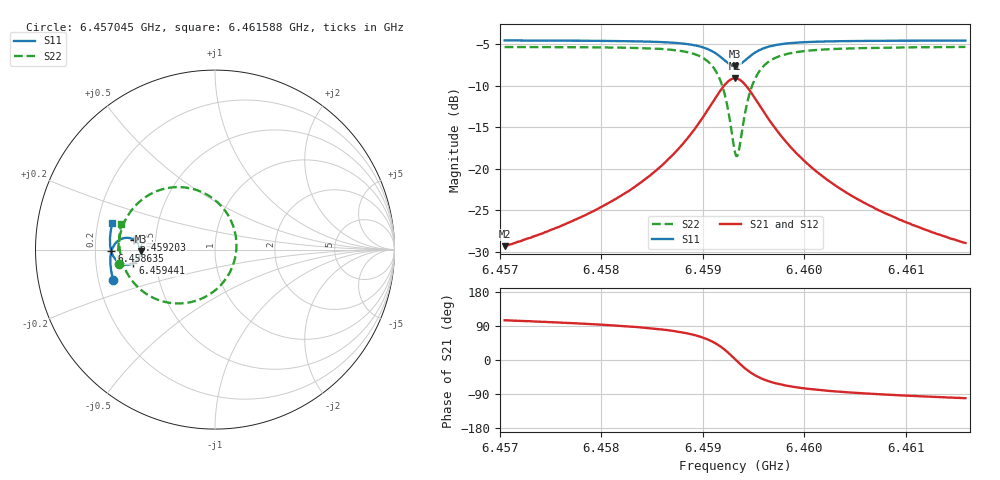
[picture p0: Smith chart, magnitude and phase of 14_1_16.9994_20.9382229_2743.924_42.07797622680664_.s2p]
#  HZ  S  RI  R  50.00
! Rohde & Schwarz Vector Network Analyzer
! Rohde-Schwarz,ZNB20-2Port,1311601062101988,3.16
! Created: UTC 3/20/2024, 10:52:42 PM
! freq[Hz]  re:S11  im:S11  re:S21  im:S21  re:S12  im:S12  re:S22  im:S22
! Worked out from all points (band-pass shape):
!   401 points, 6.457045 GHz to 6.461588 GHz, reference 50 ohm
!   highest |S21| = -9.12 dB at 6.459316 GHz (marker M1); lowest = -29.3 dB at 6.457045 GHz (marker M2)
!   |S21| within 3 dB of the highest: 6.45909 GHz to 6.459544 GHz (454.2 kHz wide, 0.00703 % of centre)
!   lowest |S11| = -7.6 dB at 6.459316 GHz (marker M3), VSWR 2.42, Z = 20.7 - j0.446 ohm
!   |S11| at or under -10 dB: nowhere
!   |S22| runs from -18.5 to -5.3 dB; largest |S21 - S12| = 0.014
!   S11 on the Smith chart (normalised r, x): 6.457045 GHz: 0.26, -0.14; 6.458635 GHz: 0.27, -0.01; 6.459203 GHz: 0.38, +0.05; 6.459441 GHz: 0.37, -0.07; 6.461588 GHz: 0.26, +0.12
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6.4570447e9  -0.5674 -0.1686  -0.00868 0.033  -0.00691 0.0329  -0.5343 -0.0783
6.4578057e9  -0.5808 -0.1018  -0.00525 0.0511  -0.00279 0.0505  -0.5387 0.0117
6.45826e9  -0.5835 -0.0557  0.0017 0.0729  0.00499 0.0714  -0.5283 0.0853
6.4585667e9  -0.5794 -0.0183  0.015 0.0998  0.019 0.097  -0.5034 0.1566
6.4586349e9  -0.577 -0.00886  0.0204 0.1082  0.0245 0.105  -0.4931 0.1767
6.458828e9  -0.5644 0.0217  0.0473 0.1394  0.0513 0.1344  -0.4423 0.2459
6.4589756e9  -0.5414 0.048  0.0931 0.1699  0.0962 0.1632  -0.358 0.3101
6.4591119e9  -0.497 0.0654  0.1813 0.1865  0.1819 0.1792  -0.1973 0.3483
6.4592028e9  -0.4519 0.0551  0.272 0.1549  0.272 0.1493  -0.0296 0.2969
6.4592709e9  -0.4223 0.0227  0.3333 0.0823  0.3354 0.0773  0.087 0.1659
6.4593164e9  -0.415 -0.00892  0.3498 0.0135  0.3537 0.00692  0.1194 0.0375
6.4593504e9  -0.4189 -0.033  0.3441 -0.0396  0.3482 -0.0486  0.1078 -0.0634
6.4593959e9  -0.4347 -0.0597  0.315 -0.1004  0.3177 -0.1121  0.0491 -0.1781
6.4594413e9  -0.4571 -0.0764  0.2725 -0.142  0.2718 -0.1554  -0.0376 -0.254
6.4594867e9  -0.4802 -0.0835  0.2273 -0.1649  0.2234 -0.1779  -0.1283 -0.2912
6.4595322e9  -0.501 -0.0837  0.1862 -0.1736  0.1801 -0.1853  -0.2092 -0.3001
6.4596798e9  -0.5456 -0.0632  0.0969 -0.1592  0.0883 -0.1655  -0.3789 -0.2493
6.4598389e9  -0.5676 -0.0354  0.0515 -0.1307  0.0439 -0.1335  -0.46 -0.1758
6.4600774e9  -0.5806 0.000258  0.0222 -0.0985  0.0163 -0.0991  -0.5079 -0.0923
6.4604295e9  -0.5852 0.0423  0.00584 -0.0706  0.00177 -0.0701  -0.5293 -0.0105
6.4608384e9  -0.5834 0.0835  -0.00161 -0.0525  -0.00439 -0.0516  -0.533 0.0555
6.4615881e9  -0.5715 0.1501  -0.00668 -0.035  -0.00839 -0.034  -0.5215 0.1447
